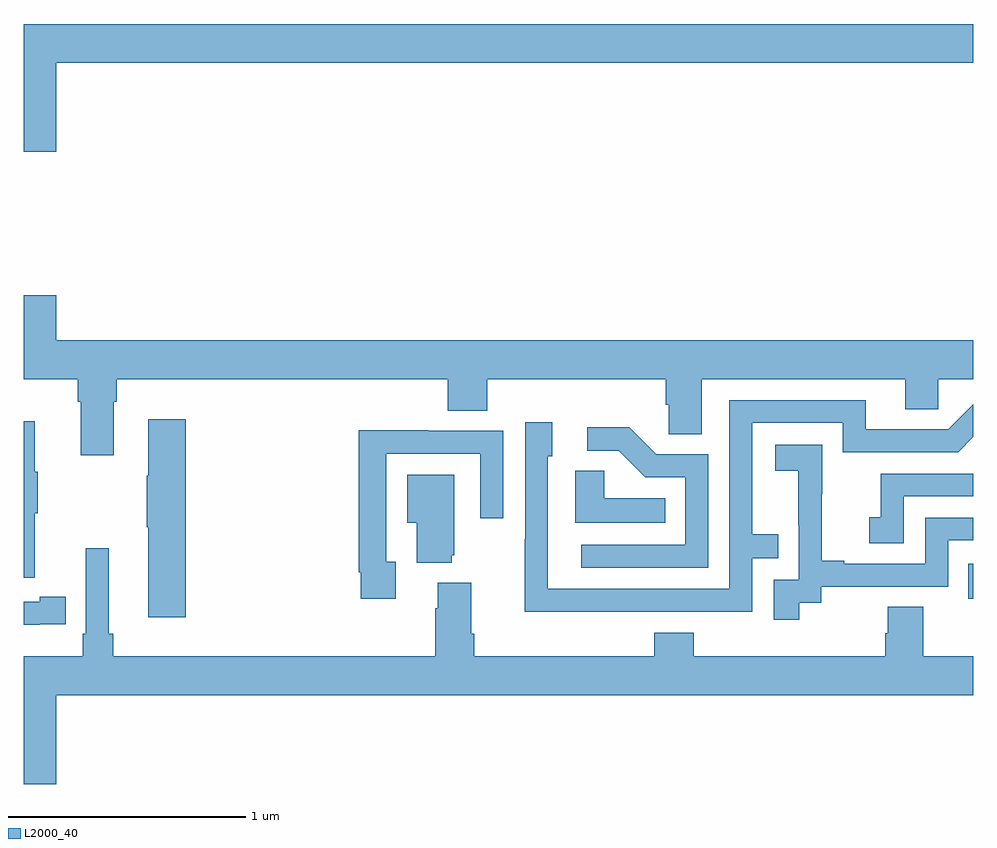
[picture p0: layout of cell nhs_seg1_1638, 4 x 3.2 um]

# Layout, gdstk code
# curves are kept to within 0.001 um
import gdstk
lib = gdstk.Library(unit=1e-6, precision=1e-09)
def R(c, l, rs):  # rectangles x0, y0, x1, y1
    for r in rs: c.add(gdstk.rectangle(r[:2], r[2:], *l))
def P(c, l, *ps):  # polygons
    for p in ps: c.add(gdstk.Polygon(p, *l))
L2000_40 = (2000, 40)

nhs_seg1_1638 = lib.new_cell('nhs_seg1_1638')
R(nhs_seg1_1638, L2000_40, [(204.979,517.506,205,517.653)])
P(nhs_seg1_1638, L2000_40, [(201.136,519.764),(205,519.764),(205,519.928),(201,519.928),(201,519.39),(201.136,519.39)],
  [(201.379,518.336),(201.392,518.336),(201.392,518.432),(202.787,518.432),(202.787,518.299),(202.952,518.299),(202.952,518.432),(203.705,518.432),(203.705,518.323),(203.718,518.323),(203.718,518.2),(203.857,518.2),(203.857,518.432),(204.713,518.432),(204.713,518.305),(204.852,518.305),(204.852,518.432),(205,518.432),(205,518.596),(201.136,518.596),(201.136,518.785),(201,518.785),(201,518.432),(201.227,518.432),(201.227,518.336),(201.239,518.336),(201.239,518.112),(201.379,518.112)],
  [(203.573,517.452),(204.069,517.452),(204.069,517.677),(204.179,517.677),(204.179,517.778),(204.069,517.778),(204.069,518.247),(204.45,518.247),(204.45,518.124),(204.936,518.124),(205,518.188),(205,518.326),(204.894,518.22),(204.547,518.22),(204.547,518.343),(203.973,518.343),(203.973,517.548),(203.208,517.548),(203.208,518.106),(203.227,518.106),(203.227,518.251),(203.112,518.251),(203.112,517.757),(203.11,517.757),(203.11,517.451)],
  [(201.683,518.263),(201.524,518.263),(201.524,518.024),(201.517,518.024),(201.517,517.807),(201.524,517.807),(201.524,517.428),(201.683,517.428)],
  [(201.047,517.867),(201.058,517.867),(201.058,518.041),(201.047,518.041),(201.047,518.254),(201,518.254),(201,517.596),(201.047,517.596)],
  [(203.883,518.115),(203.664,518.115),(203.551,518.228),(203.373,518.228),(203.373,518.13),(203.507,518.13),(203.618,518.019),(203.787,518.019),(203.787,517.734),(203.349,517.734),(203.349,517.638),(203.883,517.638)],
  [(202.567,517.662),(202.527,517.662),(202.527,518.118),(202.923,518.118),(202.923,517.845),(203.019,517.845),(203.019,518.214),(202.703,518.214),(202.703,518.216),(202.411,518.216),(202.411,517.618),(202.419,517.618),(202.419,517.506),(202.567,517.506)],
  [(204.268,517.489),(204.36,517.489),(204.36,517.557),(204.894,517.557),(204.894,517.752),(205,517.752),(205,517.848),(204.798,517.848),(204.798,517.653),(204.457,517.653),(204.457,517.666),(204.362,517.666),(204.362,517.949),(204.363,517.949),(204.363,518.155),(204.165,518.155),(204.165,518.045),(204.263,518.045),(204.263,517.817),(204.264,517.817),(204.264,517.587),(204.159,517.587),(204.159,517.419),(204.268,517.419)],
  [(203.702,517.93),(203.445,517.93),(203.445,518.045),(203.324,518.045),(203.324,517.826),(203.702,517.826)],
  [(204.708,517.938),(205,517.938),(205,518.034),(204.61,518.034),(204.61,517.849),(204.561,517.849),(204.561,517.74),(204.708,517.74)],
  [(202.802,517.689),(202.813,517.689),(202.813,518.029),(202.616,518.029),(202.616,517.826),(202.655,517.826),(202.655,517.658),(202.802,517.658)],
  [(201.136,517.1),(205,517.1),(205,517.264),(204.789,517.264),(204.789,517.472),(204.641,517.472),(204.641,517.362),(204.629,517.362),(204.629,517.264),(203.822,517.264),(203.822,517.363),(203.657,517.363),(203.657,517.264),(202.898,517.264),(202.898,517.36),(202.885,517.36),(202.885,517.573),(202.745,517.573),(202.745,517.466),(202.733,517.466),(202.733,517.264),(201.377,517.264),(201.377,517.36),(201.358,517.36),(201.358,517.72),(201.261,517.72),(201.261,517.36),(201.248,517.36),(201.248,517.264),(201,517.264),(201,516.726),(201.136,516.726)],
  [(201.068,517.398),(201.176,517.398),(201.176,517.514),(201.068,517.514),(201.068,517.494),(201,517.494),(201,517.397),(201.068,517.397)])

lib.write_gds('nhs_seg1_1638.gds')
